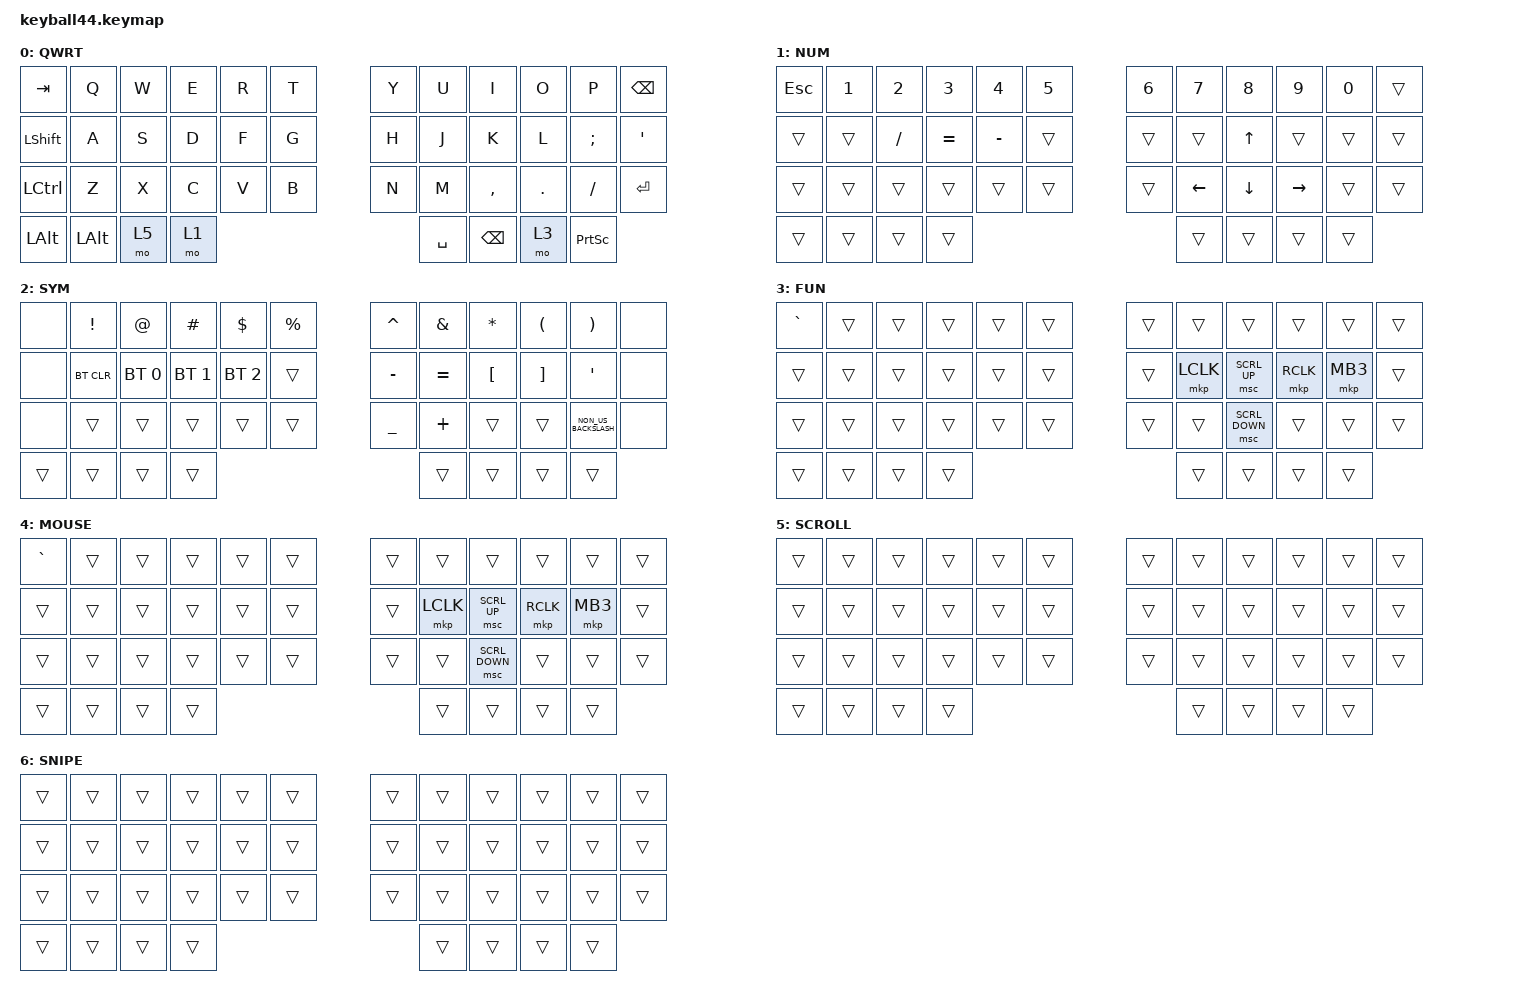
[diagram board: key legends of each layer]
#define DEFAULT 0
#define NUM     1
#define SYM     2
#define FUN     3
#define MOUSE   4
#define SCROLL  5
#define SNIPE   6

#include <behaviors/mouse_keys.dtsi>
#include <behaviors.dtsi>
#include <dt-bindings/zmk/bt.h>
#include <dt-bindings/zmk/keys.h>
#include <dt-bindings/zmk/mouse.h>

&lt {
    tapping-term-ms = <240>;
    flavor = "balanced";
    quick-tap-ms = <150>;
};

&mt {
    tapping-term-ms = <200>;
    flavor = "tap-preferred";
    quick-tap-ms = <150>;
};

&caps_word { continue-list = <UNDERSCORE MINUS>; };

/ {
    // custom shift using mod-morph 

    behaviors {
        cmqus: comma_question {
            compatible = "zmk,behavior-mod-morph";
            label = "COMMA_QUESTION";
            #binding-cells = <0>;
            bindings = <&kp COMMA>, <&kp QUESTION>;

            mods = <(MOD_LSFT|MOD_RSFT)>;
        };

        dtsmi: dot_semi {
            compatible = "zmk,behavior-mod-morph";
            label = "DOT_SEMI";
            #binding-cells = <0>;
            bindings = <&kp DOT>, <&kp SEMI>;

            mods = <(MOD_LSFT|MOD_RSFT)>;
        };
    };

    keymap {
        compatible = "zmk,keymap";

        default_layer {
            label = "QWRT";
            bindings = <
&kp TAB    &kp Q     &kp W     &kp E  &kp R      &kp T                &kp Y  &kp U  &kp I      &kp O    &kp P     &kp BSPC
&kp LSHFT  &kp A     &kp S     &kp D  &kp F      &kp G                &kp H  &kp J  &kp K      &kp L    &kp SEMI  &kp SQT
&kp LCTRL  &kp Z     &kp X     &kp C  &kp V      &kp B                &kp N  &kp M  &kp COMMA  &kp DOT  &kp FSLH  &kp RET
&kp LALT   &kp LALT             &mo 5    &mo 1  &kp SPACE             &kp BSPC  &mo 3                   &kp PRINTSCREEN
            >;
        };

        number_layer {
            label = "NUM";
            bindings = <
&kp ESC  &kp N1  &kp N2    &kp N3     &kp N4     &kp N5              &kp N6  &kp N7    &kp N8    &kp N9     &kp N0  &trans
&trans   &trans  &kp FSLH  &kp EQUAL  &kp MINUS  &trans              &trans  &trans    &kp UP    &trans     &trans  &trans
&trans   &trans  &trans    &trans     &trans     &trans              &trans  &kp LEFT  &kp DOWN  &kp RIGHT  &trans  &trans
&trans   &trans  &trans    &trans     &trans                 &trans  &trans                                         &trans
            >;
        };

        symbol_layer {
            label = "SYM";
            bindings = <
&none   &kp EXCLAMATION  &kp AT_SIGN   &kp HASH      &kp DOLLAR    &kp PERCENT              &kp CARET       &kp AMPERSAND  &kp ASTERISK      &kp LEFT_PARENTHESIS  &kp RIGHT_PARENTHESIS  &none
&none   &bt BT_CLR       &bt BT_SEL 0  &bt BT_SEL 1  &bt BT_SEL 2  &trans                   &kp MINUS       &kp EQUAL      &kp LEFT_BRACKET  &kp RIGHT_BRACKET     &kp SQT                &none
&none   &trans           &trans        &trans        &trans        &trans                   &kp UNDERSCORE  &kp PLUS       &trans            &trans                &kp NON_US_BACKSLASH   &none
&trans  &trans           &trans        &trans        &trans                         &trans  &trans                                                                                        &trans
            >;
        };

        function_layer {
            label = "FUN";
            bindings = <
&kp GRAVE  &trans  &trans  &trans  &trans  &trans              &trans  &trans     &trans          &trans     &trans    &trans
&trans     &trans  &trans  &trans  &trans  &trans              &trans  &mkp LCLK  &msc SCRL_UP    &mkp RCLK  &mkp MB3  &trans
&trans     &trans  &trans  &trans  &trans  &trans              &trans  &trans     &msc SCRL_DOWN  &trans     &trans    &trans
&trans     &trans  &trans  &trans  &trans              &trans  &trans                                                  &trans
            >;
        };

        mouse_layer {
            label = "MOUSE";
            bindings = <
&kp GRAVE  &trans  &trans  &trans  &trans  &trans              &trans  &trans     &trans          &trans     &trans    &trans
&trans     &trans  &trans  &trans  &trans  &trans              &trans  &mkp LCLK  &msc SCRL_UP    &mkp RCLK  &mkp MB3  &trans
&trans     &trans  &trans  &trans  &trans  &trans              &trans  &trans     &msc SCRL_DOWN  &trans     &trans    &trans
&trans     &trans  &trans  &trans  &trans              &trans  &trans                                                  &trans
            >;
        };

        scroll_layer {
            label = "SCROLL";
            bindings = <
&trans  &trans  &trans  &trans  &trans  &trans              &trans  &trans  &trans  &trans  &trans  &trans
&trans  &trans  &trans  &trans  &trans  &trans              &trans  &trans  &trans  &trans  &trans  &trans
&trans  &trans  &trans  &trans  &trans  &trans              &trans  &trans  &trans  &trans  &trans  &trans
&trans  &trans  &trans  &trans  &trans              &trans  &trans                                  &trans
            >;
        };

        snipe_layer {
            label = "SNIPE";
            bindings = <
&trans  &trans  &trans  &trans  &trans  &trans              &trans  &trans  &trans  &trans  &trans  &trans
&trans  &trans  &trans  &trans  &trans  &trans              &trans  &trans  &trans  &trans  &trans  &trans
&trans  &trans  &trans  &trans  &trans  &trans              &trans  &trans  &trans  &trans  &trans  &trans
&trans  &trans  &trans  &trans  &trans              &trans  &trans                                  &trans
            >;
        };
    };
};
